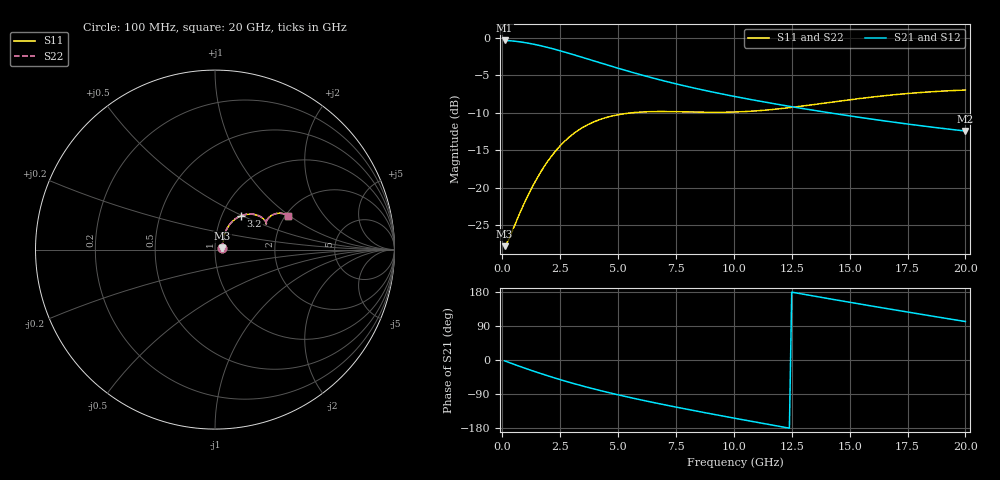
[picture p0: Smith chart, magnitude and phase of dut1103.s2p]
! Touchstone file exported from HFSS 2024.1.0
!  File:  C:/UserFiles/LocalFiles/RDL_TSV_Batchsim/temp_RDL_TSV_1103_1780100868.aedt
!  Generated:  08:39:07 AM May 30, 2026
!  Design:  RDL_TSV
!  Project:  temp_RDL_TSV_1103_1780100868
!  Setup:  Setup1
!  Solution:  Sweep
! Variables:
!  dtsv = 9.15um
!  hbump = 3um
!  htsv = 96.75um
!  ldown = 349.18um
!  lrdl = 599.39um
!  p = 40
!  p1 = 52.04um
!  rhole = 10um
!  subl = 3445.1um
!  t = 450um
!  tdown = 2.02um
!  trdl = 2.1um
!  viad = 10um
!  wdown = 12.84um
!  wrdl = 14.54um
!  xbump = 18um
# GHz S MA R 50.000000
! Terminal data exported
! Port[1] = TM1_1_T1
! Port[2] = TM1_4_T1
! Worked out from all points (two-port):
!   200 points, 100 MHz to 20 GHz, reference 50 ohm
!   highest |S21| = -0.37 dB at 100 MHz (marker M1); lowest = -12.4 dB at 20 GHz (marker M2)
!   |S21| within 3 dB of the highest: start of sweep to 4.249 GHz
!   lowest |S11| = -27.8 dB at 100 MHz (marker M3), VSWR 1.09, Z = 54.2 + j0.749 ohm
!   |S11| at or under -10 dB: start of sweep to 5.623 GHz
!   |S22| runs from -27.8 to -7.0 dB; largest |S21 - S12| = 6.5e-15
!   S11 on the Smith chart (normalised r, x): 100 MHz: 1.08, +0.01; 3.2 GHz: 1.23, +0.49; 20 GHz: 2.07, +0.97
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0.1  0.04085 9.7  0.9583 -2.3  0.9583 -2.3  0.04078 9.7
! Gamma 0 0 0 0
! Port Impedance 50 0 50 0
0.3  0.0461 26.3  0.9551 -6.8  0.9551 -6.8  0.04597 26.3
0.8  0.07022 48.8  0.9365 -17.9  0.9365 -17.9  0.06993 48.9
1.3  0.1016 57.8  0.9082 -28.4  0.9082 -28.4  0.1012 57.9
1.7  0.1304 60.1  0.8808 -36.5  0.8808 -36.5  0.1301 60.3
2.4  0.1832 58.4  0.8262 -50.0  0.8262 -50.0  0.1831 58.6
2.8  0.2115 55.6  0.7934 -57.2  0.7934 -57.2  0.2116 55.9
3.2  0.237 52.4  0.7605 -64.1  0.7605 -64.1  0.2371 52.6
3.5  0.2537 49.8  0.7363 -69.1  0.7363 -69.1  0.2539 50.0
4.3  0.2879 43.1  0.6747 -81.7  0.6747 -81.7  0.2884 43.2
5.1  0.3086 37.3  0.6193 -93.3  0.6193 -93.3  0.3093 37.4
5.9  0.3188 32.7  0.5708 -104.1  0.5708 -104.1  0.3197 32.9
6.8  0.3222 29.2  0.524 -115.7  0.524 -115.7  0.3232 29.3
7.6  0.3213 27.3  0.4884 -125.5  0.4884 -125.5  0.3224 27.4
8.4  0.3194 26.5  0.4576 -134.9  0.4576 -134.9  0.3205 26.6
10.1  0.3201 27.5  0.404 -154.4  0.404 -154.4  0.3213 27.5
11.7  0.3327 29.6  0.3641 -172.2  0.3641 -172.2  0.3338 29.6
13.4  0.3577 31.1  0.3291 169.3  0.3291 169.3  0.3586 31.0
15  0.3857 30.9  0.3014 152.3  0.3014 152.3  0.3864 30.8
16.7  0.4136 29.4  0.2763 134.7  0.2763 134.7  0.414 29.2
18.3  0.4339 27.2  0.2565 118.5  0.2565 118.5  0.4342 27.1
20  0.448 24.8  0.2389 101.5  0.2389 101.5  0.4481 24.7
